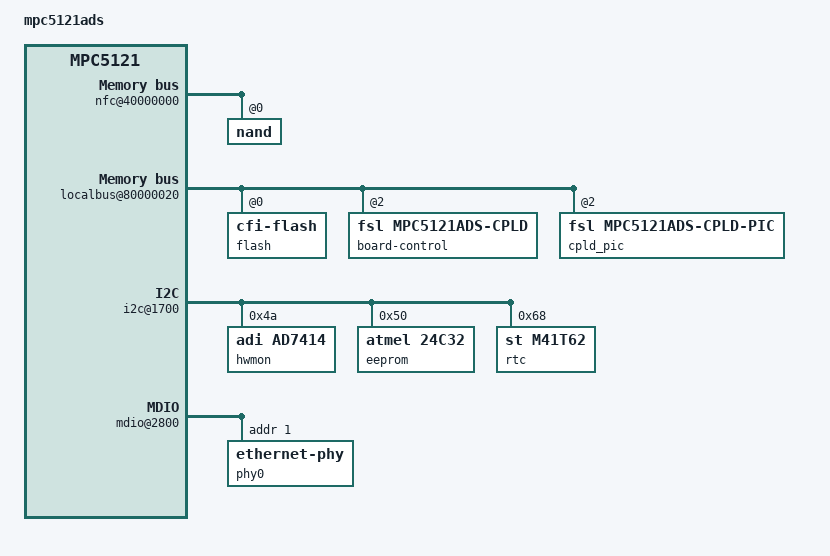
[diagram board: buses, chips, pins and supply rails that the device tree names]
/*
 * MPC5121E ADS Device Tree Source
 *
 * Copyright 2007-2008 Freescale Semiconductor Inc.
 *
 * This program is free software; you can redistribute  it and/or modify it
 * under  the terms of  the GNU General  Public License as published by the
 * Free Software Foundation;  either version 2 of the  License, or (at your
 * option) any later version.
 */

#include "mpc5121.dtsi"

/ {
	model = "mpc5121ads";
	compatible = "fsl,mpc5121ads", "fsl,mpc5121";

	nfc@40000000 {
		/*
		 * ADS has two Hynix 512MB Nand flash chips in a single
		 * stacked package.
		 */
		chips = <2>;

		nand@0 {
			label = "nand";
			reg = <0x00000000 0x40000000>;	/* 512MB + 512MB */
		};
	};

	localbus@80000020 {
		ranges = <0x0 0x0 0xfc000000 0x04000000
			  0x2 0x0 0x82000000 0x00008000>;

		flash@0,0 {
			compatible = "cfi-flash";
			reg = <0 0x0 0x4000000>;
			#address-cells = <1>;
			#size-cells = <1>;
			bank-width = <4>;
			device-width = <2>;

			protected@0 {
				label = "protected";
				reg = <0x00000000 0x00040000>;  // first sector is protected
				read-only;
			};
			filesystem@40000 {
				label = "filesystem";
				reg = <0x00040000 0x03c00000>;  // 60M for filesystem
			};
			kernel@3c40000 {
				label = "kernel";
				reg = <0x03c40000 0x00280000>;  // 2.5M for kernel
			};
			device-tree@3ec0000 {
				label = "device-tree";
				reg = <0x03ec0000 0x00040000>;  // one sector for device tree
			};
			u-boot@3f00000 {
				label = "u-boot";
				reg = <0x03f00000 0x00100000>;  // 1M for u-boot
				read-only;
			};
		};

		board-control@2,0 {
			compatible = "fsl,mpc5121ads-cpld";
			reg = <0x2 0x0 0x8000>;
		};

		cpld_pic: pic@2,a {
			compatible = "fsl,mpc5121ads-cpld-pic";
			interrupt-controller;
			#interrupt-cells = <2>;
			reg = <0x2 0xa 0x5>;
			/* irq routing:
			 * all irqs but touch screen are routed to irq0 (ipic 48)
			 * touch screen is statically routed to irq1 (ipic 17)
			 * so don't use it here
			 */
			interrupts = <48 0x8>;
		};
	};

	soc@80000000 {

		i2c@1700 {
			fsl,preserve-clocking;

			hwmon@4a {
				compatible = "adi,ad7414";
				reg = <0x4a>;
			};

			eeprom@50 {
				compatible = "atmel,24c32";
				reg = <0x50>;
			};

			rtc@68 {
				compatible = "st,m41t62";
				reg = <0x68>;
			};
		};

		eth0: ethernet@2800 {
			phy-handle = <&phy0>;
		};

		can@2300 {
			status = "disabled";
		};

		can@2380 {
			status = "disabled";
		};

		viu@2400 {
			status = "disabled";
		};

		mdio@2800 {
			phy0: ethernet-phy@0 {
				reg = <1>;
			};
		};

		/* mpc5121ads only uses USB0 */
		usb@3000 {
			status = "disabled";
		};

		/* USB0 using internal UTMI PHY */
		usb@4000 {
			dr_mode = "host";
			fsl,invert-drvvbus;
			fsl,invert-pwr-fault;
		};

		/* PSC3 serial port A aka ttyPSC0 */
		psc@11300 {
			compatible = "fsl,mpc5121-psc-uart", "fsl,mpc5121-psc";
		};

		/* PSC4 serial port B aka ttyPSC1 */
		psc@11400 {
			compatible = "fsl,mpc5121-psc-uart", "fsl,mpc5121-psc";
		};

		/* PSC5 in ac97 mode */
		ac97: psc@11500 {
			compatible = "fsl,mpc5121-psc-ac97", "fsl,mpc5121-psc";
			fsl,mode = "ac97-slave";
			fsl,rx-fifo-size = <384>;
			fsl,tx-fifo-size = <384>;
		};
	};

	pci: pci@80008500 {
		interrupt-map-mask = <0xf800 0x0 0x0 0x7>;
		interrupt-map = <
				/* IDSEL 0x15 - Slot 1 PCI */
				 0xa800 0x0 0x0 0x1 &cpld_pic 0x0 0x8
				 0xa800 0x0 0x0 0x2 &cpld_pic 0x1 0x8
				 0xa800 0x0 0x0 0x3 &cpld_pic 0x2 0x8
				 0xa800 0x0 0x0 0x4 &cpld_pic 0x3 0x8

				/* IDSEL 0x16 - Slot 2 MiniPCI */
				 0xb000 0x0 0x0 0x1 &cpld_pic 0x4 0x8
				 0xb000 0x0 0x0 0x2 &cpld_pic 0x5 0x8

				/* IDSEL 0x17 - Slot 3 MiniPCI */
				 0xb800 0x0 0x0 0x1 &cpld_pic 0x6 0x8
				 0xb800 0x0 0x0 0x2 &cpld_pic 0x7 0x8
				>;
	};
};
